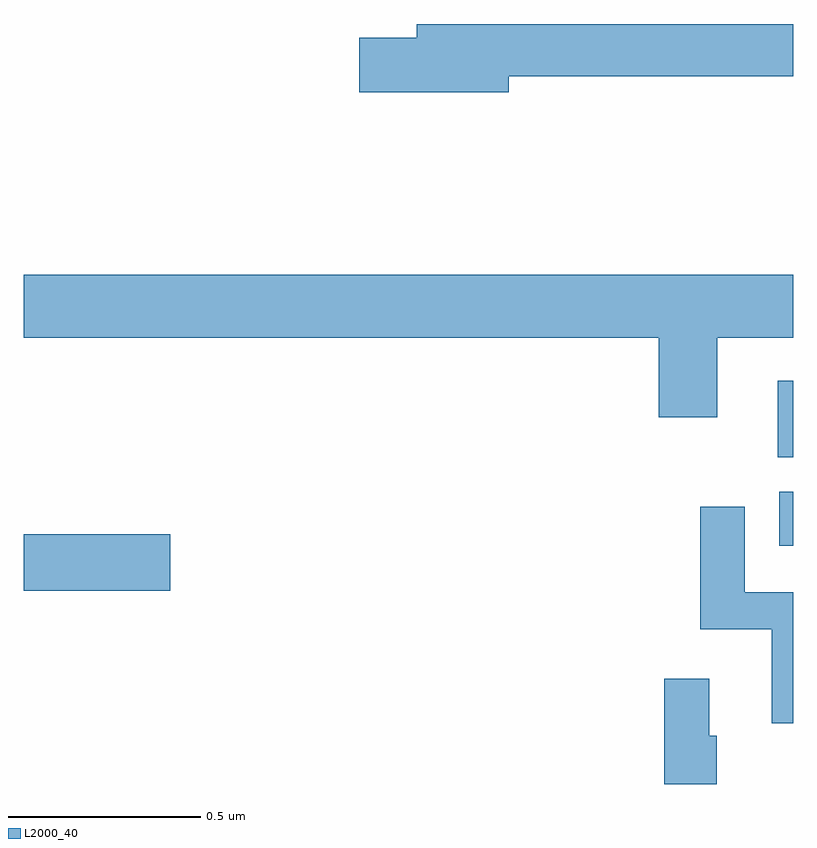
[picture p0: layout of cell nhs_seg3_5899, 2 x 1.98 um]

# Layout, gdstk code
import gdstk
lib = gdstk.Library(unit=1e-6, precision=1e-09)
def R(c, l, rs):  # rectangles x0, y0, x1, y1
    for r in rs: c.add(gdstk.rectangle(r[:2], r[2:], *l))
def P(c, l, *ps):  # polygons
    for p in ps: c.add(gdstk.Polygon(p, *l))
L2000_40 = (2000, 40)

nhs_seg3_5899 = lib.new_cell('nhs_seg3_5899')
R(nhs_seg3_5899, L2000_40, [(184,722.903,184.381,723.05), (185.964,723.02,186,723.16), (185.96,723.249,186,723.448)])
P(nhs_seg3_5899, L2000_40, [(185.26,724.24),(186,724.24),(186,724.376),(185.021,724.376),(185.021,724.34),(184.872,724.34),(184.872,724.198),(185.26,724.198)],
  [(185.803,723.56),(186,723.56),(186,723.724),(184,723.724),(184,723.56),(185.651,723.56),(185.651,723.354),(185.803,723.354)],
  [(186,722.898),(185.874,722.898),(185.874,723.121),(185.758,723.121),(185.758,722.802),(185.945,722.802),(185.945,722.558),(186,722.558)],
  [(185.801,722.525),(185.782,722.525),(185.782,722.674),(185.665,722.674),(185.665,722.4),(185.801,722.4)])

lib.write_gds('nhs_seg3_5899.gds')
